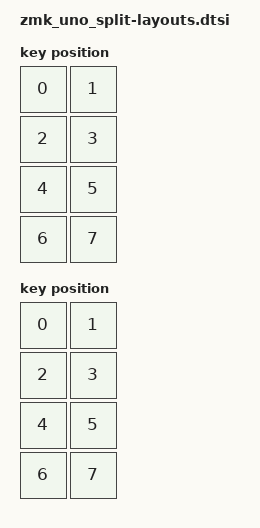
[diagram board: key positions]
#include <physical_layouts.dtsi>

/ {
    split_matrix_physical_layout: matrix_physical_layout {
        compatible = "zmk,physical-layout";
        display-name = "Matrix Layout";

        keys
            = <&key_physical_attrs 100 100   0   0 0 0 0>
            , <&key_physical_attrs 100 100 100   0 0 0 0>
            , <&key_physical_attrs 100 100   0 100 0 0 0>
            , <&key_physical_attrs 100 100 100 100 0 0 0>
            , <&key_physical_attrs 100 100   0 200 0 0 0>
            , <&key_physical_attrs 100 100 100 200 0 0 0>
            , <&key_physical_attrs 100 100   0 300 0 0 0>
            , <&key_physical_attrs 100 100 100 300 0 0 0>
            ;
    };

    split_direct_physical_layout: direct_physical_layout {
        compatible = "zmk,physical-layout";

        display-name = "Direct Wire Layout";

        keys
            = <&key_physical_attrs 100 100   0   0 0 0 0>
            , <&key_physical_attrs 100 100 100   0 0 0 0>
            , <&key_physical_attrs 100 100   0 100 0 0 0>
            , <&key_physical_attrs 100 100 100 100 0 0 0>
            , <&key_physical_attrs 100 100   0 200 0 0 0>
            , <&key_physical_attrs 100 100 100 200 0 0 0>
            , <&key_physical_attrs 100 100   0 300 0 0 0>
            , <&key_physical_attrs 100 100 100 300 0 0 0>
            ;
    };

};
